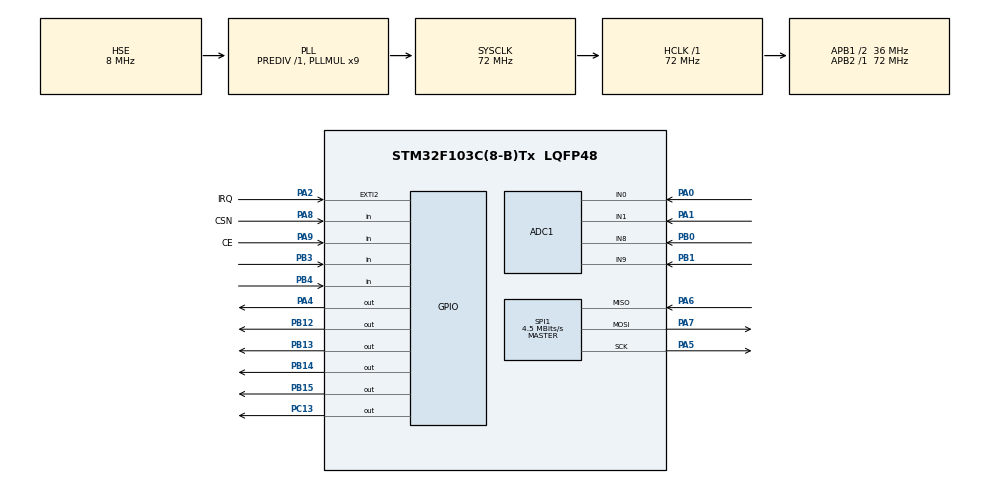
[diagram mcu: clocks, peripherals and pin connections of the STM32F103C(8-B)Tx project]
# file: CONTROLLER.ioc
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ADC1.Channel-4\#ChannelRegularConversion=ADC_CHANNEL_0
ADC1.ContinuousConvMode=ENABLE
ADC1.NbrOfConversionFlag=1
ADC1.Rank-4\#ChannelRegularConversion=1
ADC1.SamplingTime-4\#ChannelRegularConversion=ADC_SAMPLETIME_1CYCLE_5
ADC1.master=1
FREERTOS.Tasks01=defaultTask,0,128,StartDefaultTask,Default,NULL,Dynamic,NULL,NULL;Task2,0,128,Task2_init,Default,NULL,Dynamic,NULL,NULL
IWDG.Prescaler=IWDG_PRESCALER_32
Mcu.Family=STM32F1
Mcu.Name=STM32F103C(8-B)Tx
Mcu.Package=LQFP48
NVIC.EXTI2_IRQn=true\:5\:0\:false\:false\:true\:true\:true\:true\:true
NVIC.PriorityGroup=NVIC_PRIORITYGROUP_4
NVIC.TIM1_UP_IRQn=true\:15\:0\:false\:false\:true\:false\:false\:true\:true
NVIC.TimeBase=TIM1_UP_IRQn
NVIC.TimeBaseIP=TIM1
PA0-WKUP.Signal=ADCx_IN0
PA1.Signal=ADCx_IN1
PA13.Mode=Serial_Wire
PA13.Signal=SYS_JTMS-SWDIO
PA14.Mode=Serial_Wire
PA14.Signal=SYS_JTCK-SWCLK
PA2.GPIO_Label=IRQ
PA2.Signal=GPXTI2
PA4.Signal=GPIO_Output
PA5.Mode=Full_Duplex_Master
PA5.Signal=SPI1_SCK
PA6.Mode=Full_Duplex_Master
PA6.Signal=SPI1_MISO
PA7.Mode=Full_Duplex_Master
PA7.Signal=SPI1_MOSI
PA8.GPIO_Label=CSN
PA8.Signal=GPIO_Input
PA9.GPIO_Label=CE
PA9.Signal=GPIO_Input
PB0.Signal=ADCx_IN8
PB1.Signal=ADCx_IN9
PB12.Signal=GPIO_Output
PB13.Signal=GPIO_Output
PB14.Signal=GPIO_Output
PB15.Signal=GPIO_Output
PB3.Signal=GPIO_Input
PB4.Signal=GPIO_Input
PC13-TAMPER-RTC.Signal=GPIO_Output
PD0-OSC_IN.Mode=HSE-External-Oscillator
PD0-OSC_IN.Signal=RCC_OSC_IN
PD1-OSC_OUT.Mode=HSE-External-Oscillator
PD1-OSC_OUT.Signal=RCC_OSC_OUT
ProjectManager.HeapSize=0x200
ProjectManager.StackSize=0x400
ProjectManager.TargetToolchain=MDK-ARM V5.32
RCC.ADCPresc=RCC_ADCPCLK2_DIV6
RCC.AHBFreq_Value=72000000
RCC.APB1CLKDivider=RCC_HCLK_DIV2
RCC.APB1Freq_Value=36000000
RCC.APB1TimFreq_Value=72000000
RCC.APB2Freq_Value=72000000
RCC.APB2TimFreq_Value=72000000
RCC.HCLKFreq_Value=72000000
RCC.PLLMUL=RCC_PLL_MUL9
RCC.PLLSourceVirtual=RCC_PLLSOURCE_HSE
RCC.SYSCLKFreq_VALUE=72000000
RCC.SYSCLKSource=RCC_SYSCLKSOURCE_PLLCLK
RCC.USBFreq_Value=72000000
SH.ADCx_IN0.0=ADC1_IN0,IN0
SH.ADCx_IN1.0=ADC1_IN1,IN1
SH.ADCx_IN8.0=ADC1_IN8,IN8
SH.ADCx_IN9.0=ADC1_IN9,IN9
SPI1.BaudRatePrescaler=SPI_BAUDRATEPRESCALER_16
SPI1.CalculateBaudRate=4.5 MBits/s
SPI1.Direction=SPI_DIRECTION_2LINES
SPI1.Mode=SPI_MODE_MASTER
SPI1.VirtualType=VM_MASTER
VP_FREERTOS_VS_CMSIS_V1.Mode=CMSIS_V1
VP_IWDG_VS_IWDG.Mode=IWDG_Activate
VP_SYS_VS_tim1.Mode=TIM1
board=custom

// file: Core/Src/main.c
/* USER CODE BEGIN Header */
/**
  ******************************************************************************
  * @file           : main.c
  * @brief          : Main program body
  ******************************************************************************
  * @attention
  *
  * Copyright (c) 2025 STMicroelectronics.
  * All rights reserved.
  *
  * This software is licensed under terms that can be found in the LICENSE file
  * in the root directory of this software component.
  * If no LICENSE file comes with this software, it is provided AS-IS.
  *
  ******************************************************************************
  */
/* USER CODE END Header */
#include "main.h"
#include "cmsis_os.h"

/* USER CODE BEGIN Includes */
#include "NRF24L01.h"
#include "string.h"
#include "stdio.h"
/* USER CODE END Includes */

ADC_HandleTypeDef hadc1;

IWDG_HandleTypeDef hiwdg;

SPI_HandleTypeDef hspi1;

osThreadId defaultTaskHandle;
osThreadId Task2Handle;
/* USER CODE BEGIN PV */
uint16_t RY;
uint16_t RX;
uint16_t LY;
uint16_t LX;
ADC_ChannelConfTypeDef sConfigPrivate = {0};
uint8_t RB;
uint8_t LB;
/* USER CODE END PV */

void SystemClock_Config(void);
static void MX_GPIO_Init(void);
static void MX_ADC1_Init(void);
static void MX_SPI1_Init(void);
static void MX_IWDG_Init(void);
void StartDefaultTask(void const * argument);
void Task2_init(void const * argument);

/* USER CODE BEGIN 0 */
uint8_t TxAddress[] = {0xEE,0xDD,0xCC,0xBB,0xAA};
uint8_t TxData[32];
uint8_t data[50];
/* USER CODE END 0 */

int main(void)
{

  /* MCU Configuration--------------------------------------------------------*/

  /* Reset of all peripherals, Initializes the Flash interface and the Systick. */
  HAL_Init();

  /* Configure the system clock */
  SystemClock_Config();

  /* Initialize all configured peripherals */
  MX_GPIO_Init();
  MX_ADC1_Init();
  MX_SPI1_Init();
  MX_IWDG_Init();
  /* USER CODE BEGIN 2 */
  NRF24_Init();
  NRF24_TxMode(TxAddress, 10);
  memset(TxData, 0, sizeof(TxData)); //MISRA Rule 21.6 = Penggunaan fungsi pustaka memset dengan panjang yang sesuai � aman untuk tipe array sederhana//
  /* USER CODE END 2 */

  /* Create the thread(s) */
  /* definition and creation of defaultTask */
  osThreadDef(defaultTask, StartDefaultTask, osPriorityNormal, 0, 128);
  defaultTaskHandle = osThreadCreate(osThread(defaultTask), NULL);

  /* definition and creation of Task2 */
  osThreadDef(Task2, Task2_init, osPriorityNormal, 0, 128);
  Task2Handle = osThreadCreate(osThread(Task2), NULL);

  /* Start scheduler */
  osKernelStart();

  /* We should never get here as control is now taken by the scheduler */

  /* Infinite loop */
  while (1)
  {

    /* USER CODE BEGIN 3 */

	    sConfigPrivate.Rank = ADC_REGULAR_RANK_1;
	    sConfigPrivate.SamplingTime = ADC_SAMPLETIME_1CYCLE_5;

	    sConfigPrivate.Channel = ADC_CHANNEL_0;
	    HAL_ADC_ConfigChannel(&hadc1, &sConfigPrivate);
	    HAL_ADC_Start(&hadc1);
	    HAL_ADC_PollForConversion(&hadc1,500);
	    RY = HAL_ADC_GetValue(&hadc1);
	    HAL_ADC_Stop(&hadc1);

	    sConfigPrivate.Channel = ADC_CHANNEL_1;
	    HAL_ADC_ConfigChannel(&hadc1, &sConfigPrivate);
	    HAL_ADC_Start(&hadc1);
	    HAL_ADC_PollForConversion(&hadc1,500);
	    RX = HAL_ADC_GetValue(&hadc1);
	    HAL_ADC_Stop(&hadc1);

	    sConfigPrivate.Channel = ADC_CHANNEL_8;
	    HAL_ADC_ConfigChannel(&hadc1, &sConfigPrivate);
	    HAL_ADC_Start(&hadc1);
	    HAL_ADC_PollForConversion(&hadc1,500);
	    LY = HAL_ADC_GetValue(&hadc1);
	    HAL_ADC_Stop(&hadc1);

	    sConfigPrivate.Channel = ADC_CHANNEL_9;
	    HAL_ADC_ConfigChannel(&hadc1, &sConfigPrivate);
	    HAL_ADC_Start(&hadc1);
	    HAL_ADC_PollForConversion(&hadc1,500);
	    LX = HAL_ADC_GetValue(&hadc1);
	    HAL_ADC_Stop(&hadc1);

	    RB = HAL_GPIO_ReadPin(GPIOB, GPIO_PIN_4);
	    LB = HAL_GPIO_ReadPin(GPIOB, GPIO_PIN_3);

	    // Konversi 4 nilai ADC (masing-masing 2 byte: MSB dan LSB)
	    TxData[0] = (uint8_t)(RY >> 8);   // MSB
	    TxData[1] = (uint8_t)(RY & 0xFF); // LSB
	    TxData[2] = (uint8_t)(RX >> 8);
	    TxData[3] = (uint8_t)(RX & 0xFF);
	    TxData[4] = (uint8_t)(LY >> 8);
	    TxData[5] = (uint8_t)(LY & 0xFF);
	    TxData[6] = (uint8_t)(LX >> 8);
	    TxData[7] = (uint8_t)(LX & 0xFF);
			//Rule 10.3 = Konversi tipe eksplisit eksplisit dari uint16_t ke uint8_t saat menyimpan ke array//

	    TxData[8] = RB;
	    TxData[9] = LB;

	    if (LY > 3000) {
	        HAL_GPIO_WritePin(GPIOB, GPIO_PIN_12, GPIO_PIN_SET);
	    } else {
	        HAL_GPIO_WritePin(GPIOB, GPIO_PIN_12, GPIO_PIN_RESET);
	    }
	    if (LY < 1000) {
	        HAL_GPIO_WritePin(GPIOB, GPIO_PIN_13, GPIO_PIN_SET);
	    } else {
	        HAL_GPIO_WritePin(GPIOB, GPIO_PIN_13, GPIO_PIN_RESET);
	    }
	    if (LX > 3000) {
	        HAL_GPIO_WritePin(GPIOB, GPIO_PIN_14, GPIO_PIN_SET);
	    } else {
	        HAL_GPIO_WritePin(GPIOB, GPIO_PIN_14, GPIO_PIN_RESET);
	    }
	    if (LX < 1000) {
	        HAL_GPIO_WritePin(GPIOB, GPIO_PIN_15, GPIO_PIN_SET);
	    } else {
	        HAL_GPIO_WritePin(GPIOB, GPIO_PIN_15, GPIO_PIN_RESET);
	    }

	    HAL_Delay(100);
			HAL_IWDG_Refresh(&hiwdg);
  }
  /* USER CODE END 3 */
}

void SystemClock_Config(void)
{
  RCC_OscInitTypeDef RCC_OscInitStruct = {0};
  RCC_ClkInitTypeDef RCC_ClkInitStruct = {0};
  RCC_PeriphCLKInitTypeDef PeriphClkInit = {0};

  /** Initializes the RCC Oscillators according to the specified parameters
  * in the RCC_OscInitTypeDef structure.
  */
  RCC_OscInitStruct.OscillatorType = RCC_OSCILLATORTYPE_LSI|RCC_OSCILLATORTYPE_HSE;
  RCC_OscInitStruct.HSEState = RCC_HSE_ON;
  RCC_OscInitStruct.HSEPredivValue = RCC_HSE_PREDIV_DIV1;
  RCC_OscInitStruct.HSIState = RCC_HSI_ON;
  RCC_OscInitStruct.LSIState = RCC_LSI_ON;
  RCC_OscInitStruct.PLL.PLLState = RCC_PLL_ON;
  RCC_OscInitStruct.PLL.PLLSource = RCC_PLLSOURCE_HSE;
  RCC_OscInitStruct.PLL.PLLMUL = RCC_PLL_MUL9;
  if (HAL_RCC_OscConfig(&RCC_OscInitStruct) != HAL_OK)
  {
    Error_Handler();
  }

  /** Initializes the CPU, AHB and APB buses clocks
  */
  RCC_ClkInitStruct.ClockType = RCC_CLOCKTYPE_HCLK|RCC_CLOCKTYPE_SYSCLK
                              |RCC_CLOCKTYPE_PCLK1|RCC_CLOCKTYPE_PCLK2;
  RCC_ClkInitStruct.SYSCLKSource = RCC_SYSCLKSOURCE_PLLCLK;
  RCC_ClkInitStruct.AHBCLKDivider = RCC_SYSCLK_DIV1;
  RCC_ClkInitStruct.APB1CLKDivider = RCC_HCLK_DIV2;
  RCC_ClkInitStruct.APB2CLKDivider = RCC_HCLK_DIV1;

  if (HAL_RCC_ClockConfig(&RCC_ClkInitStruct, FLASH_LATENCY_2) != HAL_OK)
  {
    Error_Handler();
  }
  PeriphClkInit.PeriphClockSelection = RCC_PERIPHCLK_ADC;
  PeriphClkInit.AdcClockSelection = RCC_ADCPCLK2_DIV6;
  if (HAL_RCCEx_PeriphCLKConfig(&PeriphClkInit) != HAL_OK)
  {
    Error_Handler();
  }
}

static void MX_ADC1_Init(void)
{

  ADC_ChannelConfTypeDef sConfig = {0};

  /** Common config
  */
  hadc1.Instance = ADC1;
  hadc1.Init.ScanConvMode = ADC_SCAN_DISABLE;
  hadc1.Init.ContinuousConvMode = ENABLE;
  hadc1.Init.DiscontinuousConvMode = DISABLE;
  hadc1.Init.ExternalTrigConv = ADC_SOFTWARE_START;
  hadc1.Init.DataAlign = ADC_DATAALIGN_RIGHT;
  hadc1.Init.NbrOfConversion = 1;
  if (HAL_ADC_Init(&hadc1) != HAL_OK)
  {
    Error_Handler();
  }

  /** Configure Regular Channel
  */
  sConfig.Channel = ADC_CHANNEL_0;
  sConfig.Rank = ADC_REGULAR_RANK_1;
  sConfig.SamplingTime = ADC_SAMPLETIME_1CYCLE_5;
  if (HAL_ADC_ConfigChannel(&hadc1, &sConfig) != HAL_OK)
  {
    Error_Handler();
  }

}

static void MX_IWDG_Init(void)
{

  hiwdg.Instance = IWDG;
  hiwdg.Init.Prescaler = IWDG_PRESCALER_32;
  hiwdg.Init.Reload = 4095;
  if (HAL_IWDG_Init(&hiwdg) != HAL_OK)
  {
    Error_Handler();
  }

}

static void MX_SPI1_Init(void)
{

  /* SPI1 parameter configuration*/
  hspi1.Instance = SPI1;
  hspi1.Init.Mode = SPI_MODE_MASTER;
  hspi1.Init.Direction = SPI_DIRECTION_2LINES;
  hspi1.Init.DataSize = SPI_DATASIZE_8BIT;
  hspi1.Init.CLKPolarity = SPI_POLARITY_LOW;
  hspi1.Init.CLKPhase = SPI_PHASE_1EDGE;
  hspi1.Init.NSS = SPI_NSS_SOFT;
  hspi1.Init.BaudRatePrescaler = SPI_BAUDRATEPRESCALER_16;
  hspi1.Init.FirstBit = SPI_FIRSTBIT_MSB;
  hspi1.Init.TIMode = SPI_TIMODE_DISABLE;
  hspi1.Init.CRCCalculation = SPI_CRCCALCULATION_DISABLE;
  hspi1.Init.CRCPolynomial = 10;
  if (HAL_SPI_Init(&hspi1) != HAL_OK)
  {
    Error_Handler();
  }

}

static void MX_GPIO_Init(void)
{
  GPIO_InitTypeDef GPIO_InitStruct = {0};

  /* GPIO Ports Clock Enable */
  __HAL_RCC_GPIOC_CLK_ENABLE();
  __HAL_RCC_GPIOD_CLK_ENABLE();
  __HAL_RCC_GPIOA_CLK_ENABLE();
  __HAL_RCC_GPIOB_CLK_ENABLE();

  /*Configure GPIO pin Output Level */
  HAL_GPIO_WritePin(GPIOC, GPIO_PIN_13, GPIO_PIN_RESET);

  /*Configure GPIO pin Output Level */
  HAL_GPIO_WritePin(GPIOA, GPIO_PIN_4, GPIO_PIN_RESET);

  /*Configure GPIO pin Output Level */
  HAL_GPIO_WritePin(GPIOB, GPIO_PIN_12|GPIO_PIN_13|GPIO_PIN_14|GPIO_PIN_15, GPIO_PIN_RESET);

  /*Configure GPIO pin : PC13 */
  GPIO_InitStruct.Pin = GPIO_PIN_13;
  GPIO_InitStruct.Mode = GPIO_MODE_OUTPUT_PP;
  GPIO_InitStruct.Pull = GPIO_NOPULL;
  GPIO_InitStruct.Speed = GPIO_SPEED_FREQ_LOW;
  HAL_GPIO_Init(GPIOC, &GPIO_InitStruct);

  /*Configure GPIO pin : IRQ_Pin */
  GPIO_InitStruct.Pin = IRQ_Pin;
  GPIO_InitStruct.Mode = GPIO_MODE_IT_RISING;
  GPIO_InitStruct.Pull = GPIO_NOPULL;
  HAL_GPIO_Init(IRQ_GPIO_Port, &GPIO_InitStruct);

  /*Configure GPIO pin : PA4 */
  GPIO_InitStruct.Pin = GPIO_PIN_4;
  GPIO_InitStruct.Mode = GPIO_MODE_OUTPUT_PP;
  GPIO_InitStruct.Pull = GPIO_NOPULL;
  GPIO_InitStruct.Speed = GPIO_SPEED_FREQ_LOW;
  HAL_GPIO_Init(GPIOA, &GPIO_InitStruct);

  /*Configure GPIO pins : PB12 PB13 PB14 PB15 */
  GPIO_InitStruct.Pin = GPIO_PIN_12|GPIO_PIN_13|GPIO_PIN_14|GPIO_PIN_15;
  GPIO_InitStruct.Mode = GPIO_MODE_OUTPUT_PP;
  GPIO_InitStruct.Pull = GPIO_NOPULL;
  GPIO_InitStruct.Speed = GPIO_SPEED_FREQ_LOW;
  HAL_GPIO_Init(GPIOB, &GPIO_InitStruct);

  /*Configure GPIO pins : CSN_Pin CE_Pin */
  GPIO_InitStruct.Pin = CSN_Pin|CE_Pin;
  GPIO_InitStruct.Mode = GPIO_MODE_INPUT;
  GPIO_InitStruct.Pull = GPIO_NOPULL;
  HAL_GPIO_Init(GPIOA, &GPIO_InitStruct);

  /*Configure GPIO pins : PB3 PB4 */
  GPIO_InitStruct.Pin = GPIO_PIN_3|GPIO_PIN_4;
  GPIO_InitStruct.Mode = GPIO_MODE_INPUT;
  GPIO_InitStruct.Pull = GPIO_NOPULL;
  HAL_GPIO_Init(GPIOB, &GPIO_InitStruct);

  /* EXTI interrupt init*/
  HAL_NVIC_SetPriority(EXTI2_IRQn, 5, 0);
  HAL_NVIC_EnableIRQ(EXTI2_IRQn);

}

void StartDefaultTask(void const * argument)
{
  for(;;)
  {
    osDelay(1);
  }
}

void Task2_init(void const * argument)
{
  for(;;)
  {
    osDelay(1);
  }
}

void HAL_TIM_PeriodElapsedCallback(TIM_HandleTypeDef *htim)
{
  if (htim->Instance == TIM1) {
    HAL_IncTick();
  }
}

void Error_Handler(void)
{
  __disable_irq();
  while (1)
  {
  }
}
